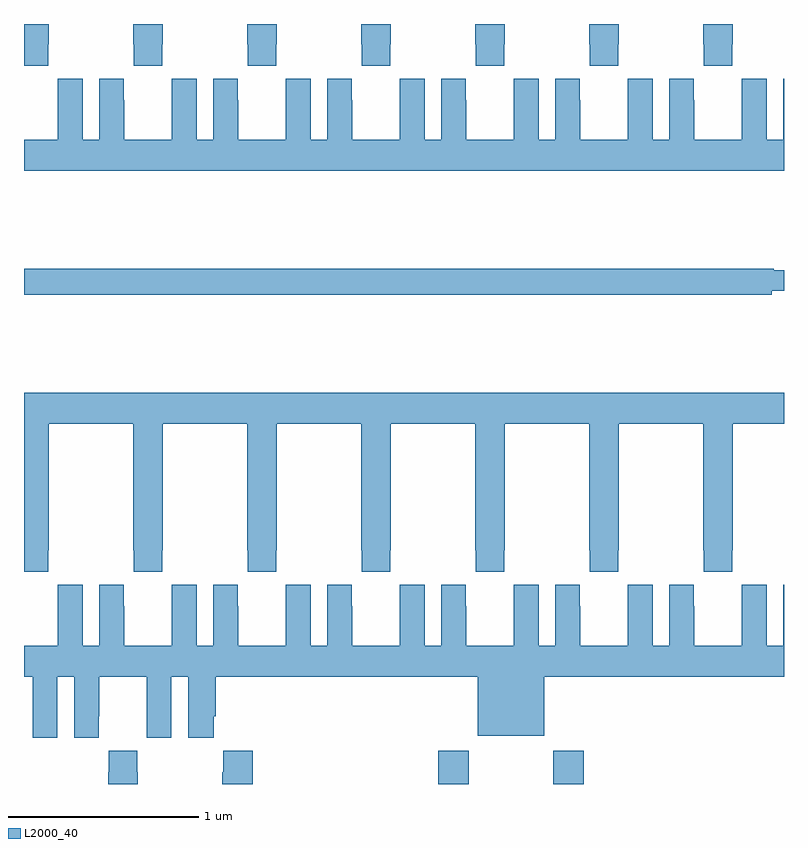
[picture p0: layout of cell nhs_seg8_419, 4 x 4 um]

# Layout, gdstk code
import gdstk
lib = gdstk.Library(unit=1e-6, precision=1e-09)
def R(c, l, rs):  # rectangles x0, y0, x1, y1
    for r in rs: c.add(gdstk.rectangle(r[:2], r[2:], *l))
def P(c, l, *ps):  # polygons
    for p in ps: c.add(gdstk.Polygon(p, *l))
L2000_40 = (2000, 40)

nhs_seg8_419 = lib.new_cell('nhs_seg8_419')
R(nhs_seg8_419, L2000_40, [(139.181,1151.9,139.341,1152.076), (139.786,1151.9,139.946,1152.076)])
P(nhs_seg8_419, L2000_40, [(137.127,1155.793),(137.13,1155.793),(137.13,1155.9),(137,1155.9),(137,1155.681),(137.127,1155.681)],
  [(137.727,1155.793),(137.73,1155.793),(137.73,1155.9),(137.575,1155.9),(137.575,1155.793),(137.577,1155.793),(137.577,1155.681),(137.727,1155.681)],
  [(138.327,1155.793),(138.33,1155.793),(138.33,1155.9),(138.175,1155.9),(138.175,1155.793),(138.177,1155.793),(138.177,1155.681),(138.327,1155.681)],
  [(138.927,1155.793),(138.93,1155.793),(138.93,1155.9),(138.775,1155.9),(138.775,1155.793),(138.777,1155.793),(138.777,1155.681),(138.927,1155.681)],
  [(139.527,1155.793),(139.53,1155.793),(139.53,1155.9),(139.375,1155.9),(139.375,1155.793),(139.377,1155.793),(139.377,1155.681),(139.527,1155.681)],
  [(140.127,1155.793),(140.13,1155.793),(140.13,1155.9),(139.975,1155.9),(139.975,1155.793),(139.977,1155.793),(139.977,1155.681),(140.127,1155.681)],
  [(140.727,1155.793),(140.73,1155.793),(140.73,1155.9),(140.575,1155.9),(140.575,1155.793),(140.577,1155.793),(140.577,1155.681),(140.727,1155.681)],
  [(141,1155.613),(140.996,1155.613),(140.996,1155.292),(140.908,1155.292),(140.908,1155.613),(140.778,1155.613),(140.778,1155.5),(140.777,1155.5),(140.777,1155.292),(140.527,1155.292),(140.527,1155.5),(140.526,1155.5),(140.526,1155.613),(140.396,1155.613),(140.396,1155.292),(140.308,1155.292),(140.308,1155.613),(140.178,1155.613),(140.178,1155.5),(140.177,1155.5),(140.177,1155.292),(139.927,1155.292),(139.927,1155.5),(139.926,1155.5),(139.926,1155.613),(139.796,1155.613),(139.796,1155.292),(139.708,1155.292),(139.708,1155.613),(139.578,1155.613),(139.578,1155.5),(139.577,1155.5),(139.577,1155.292),(139.327,1155.292),(139.327,1155.5),(139.326,1155.5),(139.326,1155.613),(139.196,1155.613),(139.196,1155.292),(139.108,1155.292),(139.108,1155.613),(138.978,1155.613),(138.978,1155.5),(138.977,1155.5),(138.977,1155.292),(138.727,1155.292),(138.727,1155.5),(138.726,1155.5),(138.726,1155.613),(138.596,1155.613),(138.596,1155.292),(138.508,1155.292),(138.508,1155.613),(138.378,1155.613),(138.378,1155.5),(138.377,1155.5),(138.377,1155.292),(138.127,1155.292),(138.127,1155.5),(138.126,1155.5),(138.126,1155.613),(137.996,1155.613),(137.996,1155.292),(137.908,1155.292),(137.908,1155.613),(137.778,1155.613),(137.778,1155.5),(137.777,1155.5),(137.777,1155.292),(137.527,1155.292),(137.527,1155.5),(137.526,1155.5),(137.526,1155.613),(137.396,1155.613),(137.396,1155.292),(137.308,1155.292),(137.308,1155.613),(137.178,1155.613),(137.178,1155.5),(137.177,1155.5),(137.177,1155.292),(137,1155.292),(137,1155.128),(141,1155.128)],
  [(140.936,1154.495),(141,1154.495),(141,1154.605),(140.945,1154.605),(140.945,1154.612),(137,1154.612),(137,1154.476),(140.936,1154.476)],
  [(137,1153.017),(137.127,1153.017),(137.127,1153.129),(137.13,1153.129),(137.13,1153.796),(137.575,1153.796),(137.575,1153.129),(137.577,1153.129),(137.577,1153.017),(137.727,1153.017),(137.727,1153.129),(137.73,1153.129),(137.73,1153.796),(138.175,1153.796),(138.175,1153.129),(138.177,1153.129),(138.177,1153.017),(138.327,1153.017),(138.327,1153.129),(138.33,1153.129),(138.33,1153.796),(138.775,1153.796),(138.775,1153.129),(138.777,1153.129),(138.777,1153.017),(138.927,1153.017),(138.927,1153.129),(138.93,1153.129),(138.93,1153.796),(139.375,1153.796),(139.375,1153.129),(139.377,1153.129),(139.377,1153.017),(139.527,1153.017),(139.527,1153.129),(139.53,1153.129),(139.53,1153.796),(139.975,1153.796),(139.975,1153.129),(139.977,1153.129),(139.977,1153.017),(140.127,1153.017),(140.127,1153.129),(140.13,1153.129),(140.13,1153.796),(140.575,1153.796),(140.575,1153.129),(140.577,1153.129),(140.577,1153.017),(140.727,1153.017),(140.727,1153.129),(140.73,1153.129),(140.73,1153.796),(141,1153.796),(141,1153.96),(137,1153.96)],
  [(139.738,1152.464),(141,1152.464),(141,1152.949),(140.996,1152.949),(140.996,1152.628),(140.908,1152.628),(140.908,1152.949),(140.778,1152.949),(140.778,1152.836),(140.777,1152.836),(140.777,1152.628),(140.527,1152.628),(140.527,1152.836),(140.526,1152.836),(140.526,1152.949),(140.396,1152.949),(140.396,1152.628),(140.308,1152.628),(140.308,1152.949),(140.178,1152.949),(140.178,1152.836),(140.177,1152.836),(140.177,1152.628),(139.927,1152.628),(139.927,1152.836),(139.926,1152.836),(139.926,1152.949),(139.796,1152.949),(139.796,1152.628),(139.708,1152.628),(139.708,1152.949),(139.578,1152.949),(139.578,1152.836),(139.577,1152.836),(139.577,1152.628),(139.327,1152.628),(139.327,1152.836),(139.326,1152.836),(139.326,1152.949),(139.196,1152.949),(139.196,1152.628),(139.108,1152.628),(139.108,1152.949),(138.978,1152.949),(138.978,1152.836),(138.977,1152.836),(138.977,1152.628),(138.727,1152.628),(138.727,1152.836),(138.726,1152.836),(138.726,1152.949),(138.596,1152.949),(138.596,1152.628),(138.508,1152.628),(138.508,1152.949),(138.378,1152.949),(138.378,1152.836),(138.377,1152.836),(138.377,1152.628),(138.127,1152.628),(138.127,1152.836),(138.126,1152.836),(138.126,1152.949),(137.996,1152.949),(137.996,1152.628),(137.908,1152.628),(137.908,1152.949),(137.778,1152.949),(137.778,1152.836),(137.777,1152.836),(137.777,1152.628),(137.527,1152.628),(137.527,1152.836),(137.526,1152.836),(137.526,1152.949),(137.396,1152.949),(137.396,1152.628),(137.308,1152.628),(137.308,1152.949),(137.178,1152.949),(137.178,1152.836),(137.177,1152.836),(137.177,1152.628),(137,1152.628),(137,1152.464),(137.045,1152.464),(137.045,1152.256),(137.046,1152.256),(137.046,1152.144),(137.176,1152.144),(137.176,1152.464),(137.264,1152.464),(137.264,1152.144),(137.394,1152.144),(137.394,1152.256),(137.395,1152.256),(137.395,1152.464),(137.645,1152.464),(137.645,1152.256),(137.646,1152.256),(137.646,1152.144),(137.776,1152.144),(137.776,1152.464),(137.864,1152.464),(137.864,1152.144),(137.998,1152.144),(137.998,1152.256),(138.008,1152.256),(138.008,1152.464),(139.388,1152.464),(139.388,1152.155),(139.738,1152.155)],
  [(137.598,1151.963),(137.595,1151.963),(137.595,1152.076),(137.445,1152.076),(137.445,1151.963),(137.443,1151.963),(137.443,1151.9),(137.598,1151.9)],
  [(138.203,1152.076),(138.049,1152.076),(138.049,1151.963),(138.043,1151.963),(138.043,1151.9),(138.203,1151.9)])

lib.write_gds('nhs_seg8_419.gds')
